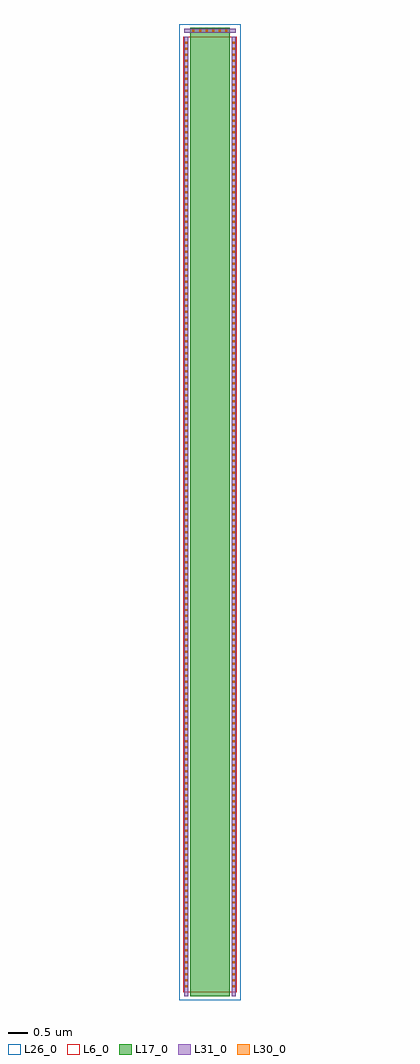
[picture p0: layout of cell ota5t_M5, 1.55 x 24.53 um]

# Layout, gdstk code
import gdstk
lib = gdstk.Library(unit=1e-6, precision=1e-09)
def R(c, l, rs):  # rectangles x0, y0, x1, y1
    for r in rs: c.add(gdstk.rectangle(r[:2], r[2:], *l))
def A(c, l, x, y, w, h, nx, ny, dx, dy):  # array of equal rectangles
    R(c, l, [(x+i*dx, y+j*dy, x+i*dx+w, y+j*dy+h) for i in range(nx) for j in range(ny)])
L6_0 = (6, 0)
L17_0 = (17, 0)
L26_0 = (26, 0)
L30_0 = (30, 0)
L31_0 = (31, 0)

ota5t_m5 = lib.new_cell('ota5t_M5')
R(ota5t_m5, L6_0, [(-0.075,0.05,1.275,24.05)])
R(ota5t_m5, L17_0, [(0.1,-0.05,1.1,24.15), (0.1,24.05,1.1,24.275)])
R(ota5t_m5, L26_0, [(-0.175,-0.15,1.375,24.375)])
A(ota5t_m5, L30_0, -0.025, 0.175, 0.05, 0.05, 1, 159, 0, 0.15)
A(ota5t_m5, L30_0, 1.175, 0.175, 0.05, 0.05, 1, 159, 0, 0.15)
A(ota5t_m5, L30_0, 0.16, 24.175, 0.05, 0.05, 6, 1, 0.165, 0)
R(ota5t_m5, L31_0, [(-0.05,-0.05,0.05,24.05), (1.15,-0.05,1.25,24.05), (-0.05,0.05,0.05,24.05), (1.15,0.05,1.25,24.05), (-0.05,24.15,1.25,24.25), (0.1,24.15,1.1,24.25)])

lib.write_gds('ota5t_M5.gds')
